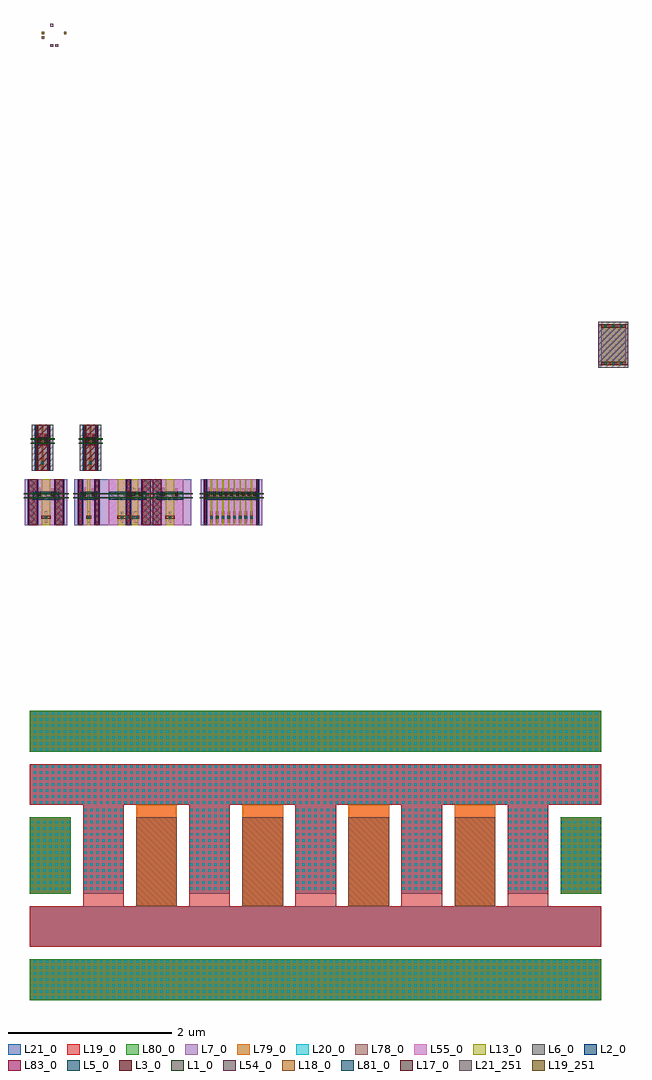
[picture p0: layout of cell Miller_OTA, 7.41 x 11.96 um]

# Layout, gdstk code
import gdstk
lib = gdstk.Library(unit=1e-6, precision=1e-09)
def R(c, l, rs):  # rectangles x0, y0, x1, y1
    for r in rs: c.add(gdstk.rectangle(r[:2], r[2:], *l))
def A(c, l, x, y, w, h, nx, ny, dx, dy):  # array of equal rectangles
    R(c, l, [(x+i*dx, y+j*dy, x+i*dx+w, y+j*dy+h) for i in range(nx) for j in range(ny)])
L1_0 = (1, 0)
L2_0 = (2, 0)
L3_0 = (3, 0)
L5_0 = (5, 0)
L6_0 = (6, 0)
L7_0 = (7, 0)
L13_0 = (13, 0)
L17_0 = (17, 0)
L18_0 = (18, 0)
L19_0 = (19, 0)
L19_251 = (19, 251)
L20_0 = (20, 0)
L21_0 = (21, 0)
L21_251 = (21, 251)
L54_0 = (54, 0)
L55_0 = (55, 0)
L78_0 = (78, 0)
L79_0 = (79, 0)
L80_0 = (80, 0)
L81_0 = (81, 0)
L83_0 = (83, 0)

contact_pcell_41be = lib.new_cell('Contact_pcell_41be')
R(contact_pcell_41be, L19_0, [(-0.014,-0.008,6.986,0.492)])
A(contact_pcell_41be, L20_0, 0.03, 0.005, 0.03, 0.03, 94, 7, 0.074, 0.074)
R(contact_pcell_41be, L21_0, [(-0.014,-0.008,6.986,0.492)])

abutcontact_pcell_8e2c = lib.new_cell('AbutContact_pcell_8e2c')
R(abutcontact_pcell_8e2c, L19_0, [(-0.008,-0.005,0.492,1.085)])
A(abutcontact_pcell_8e2c, L20_0, 0.005, 0.044, 0.03, 0.03, 7, 14, 0.074, 0.074)
R(abutcontact_pcell_8e2c, L21_0, [(-0.008,-0.005,0.492,1.085)])

contact_pcell_8956 = lib.new_cell('Contact_pcell_8956')
R(contact_pcell_8956, L19_0, [(-0.014,-0.008,6.986,0.492)])
A(contact_pcell_8956, L20_0, 0.03, 0.005, 0.03, 0.03, 94, 7, 0.074, 0.074)
R(contact_pcell_8956, L21_0, [(-0.014,-0.008,6.986,0.492)])
R(contact_pcell_8956, L80_0, [(-0.014,-0.008,6.986,0.492)])

contact_pcell_5b6d = lib.new_cell('Contact_pcell_5b6d')
R(contact_pcell_5b6d, L19_0, [(-0.008,-0.018,0.492,0.922)])
A(contact_pcell_5b6d, L20_0, 0.005, 0.03, 0.03, 0.03, 7, 12, 0.074, 0.074)
R(contact_pcell_5b6d, L21_0, [(-0.008,-0.018,0.492,0.922)])
R(contact_pcell_5b6d, L80_0, [(-0.008,-0.018,0.492,0.922)])

ccap_pcell_7730 = lib.new_cell('Ccap_pcell_7730')
A(ccap_pcell_7730, L19_0, 0.65, 0.5, 0.5, 1.24, 9, 1, 0.65, 0)
R(ccap_pcell_7730, L19_0, [(0,-0.65,7,-0.15), (0,0,7,0.5), (0,0.65,0.5,1.59), (6.5,0.65,7,1.59), (0,1.74,7,2.24), (0,1.74,7,2.24), (0,2.39,7,2.89)])
A(ccap_pcell_7730, L21_0, 1.3, 0.5, 0.5, 1.09, 4, 1, 1.3, 0)
A(ccap_pcell_7730, L21_0, 0.65, 0.65, 0.5, 1.09, 5, 1, 1.3, 0)
R(ccap_pcell_7730, L21_0, [(0,-0.65,7,-0.15), (0,0,7,0.5), (0,0,7,0.5), (0,0.65,0.5,1.59), (6.5,0.65,7,1.59), (0,1.74,7,2.24), (0,1.74,7,2.24), (0,2.39,7,2.89)])
A(ccap_pcell_7730, L78_0, 1.3, 0.5, 0.5, 1.09, 4, 1, 1.3, 0)
A(ccap_pcell_7730, L79_0, 1.3, 0.5, 0.5, 1.24, 4, 1, 1.3, 0)
ccap_pcell_7730.add(gdstk.Reference(contact_pcell_41be, (0.014,1.748)))
ccap_pcell_7730.add(gdstk.Reference(abutcontact_pcell_8e2c, (5.858,0.655)))
ccap_pcell_7730.add(gdstk.Reference(abutcontact_pcell_8e2c, (4.558,0.655)))
ccap_pcell_7730.add(gdstk.Reference(abutcontact_pcell_8e2c, (3.258,0.655)))
ccap_pcell_7730.add(gdstk.Reference(abutcontact_pcell_8e2c, (1.958,0.655)))
ccap_pcell_7730.add(gdstk.Reference(abutcontact_pcell_8e2c, (0.658,0.655)))
ccap_pcell_7730.add(gdstk.Reference(contact_pcell_8956, (0.014,-0.642)))
ccap_pcell_7730.add(gdstk.Reference(contact_pcell_8956, (0.014,2.398)))
ccap_pcell_7730.add(gdstk.Reference(contact_pcell_5b6d, (6.508,0.668)))
ccap_pcell_7730.add(gdstk.Reference(contact_pcell_5b6d, (0.008,0.668)))

nfet_pcell_736b = lib.new_cell('nfet_pcell_736b')
R(nfet_pcell_736b, L1_0, [(-0.168,0,0.21,0.014), (-0.168,0.05,0.21,0.064)])
R(nfet_pcell_736b, L2_0, [(-0.114,-0.333,-0.048,0.235), (0.09,-0.333,0.156,0.235)])
R(nfet_pcell_736b, L5_0, [(-0.081,-0.018,0,0.082), (0,-0.018,0.042,0.082), (0.042,-0.018,0.123,0.082)])
R(nfet_pcell_736b, L7_0, [(-0.154,-0.333,0.196,0.235)])
A(nfet_pcell_736b, L13_0, -0.102, -0.333, 0.042, 0.568, 3, 1, 0.102, 0)
R(nfet_pcell_736b, L13_0, [(-0.102,-0.333,-0.06,0.235), (0.102,-0.333,0.144,0.235)])
R(nfet_pcell_736b, L17_0, [(-0.045,0.025,-0.015,0.082), (0.057,0.025,0.087,0.082)])
R(nfet_pcell_736b, L18_0, [(-0.01,-0.254,0.052,-0.214)])
R(nfet_pcell_736b, L19_0, [(0.004,-0.308,0.038,-0.16), (0.004,-0.308,0.038,-0.16), (-0.047,-0.026,-0.013,0.126), (-0.047,-0.024,-0.013,0.124), (0.055,-0.024,0.089,0.124), (0.055,-0.02,0.089,0.12)])
R(nfet_pcell_736b, L55_0, [(-0.081,-0.333,0.123,0.235)])
R(nfet_pcell_736b, L81_0, [(0.006,-0.249,0.036,-0.219), (-0.045,0.035,-0.015,0.065), (0.057,0.035,0.087,0.065)])
R(nfet_pcell_736b, L83_0, [(-0.102,-0.333,-0.06,0.235), (0.102,-0.333,0.144,0.235)])

nfet_manual_l0r1_bc40 = lib.new_cell('nfet_manual_l0r1_bc40')
R(nfet_manual_l0r1_bc40, L1_0, [(-0.14,0,0.154,0.014), (-0.14,0.05,0.154,0.064)])
R(nfet_manual_l0r1_bc40, L2_0, [(-0.086,-0.333,-0.048,0.235)])
R(nfet_manual_l0r1_bc40, L5_0, [(-0.067,-0.018,0,0.082), (0,-0.018,0.014,0.082), (0.014,-0.018,0.069,0.082)])
R(nfet_manual_l0r1_bc40, L7_0, [(-0.126,-0.333,0.14,0.235)])
R(nfet_manual_l0r1_bc40, L13_0, [(-0.074,-0.333,-0.06,0.235), (-0.074,-0.333,-0.06,0.235), (0,-0.333,0.014,0.235)])
R(nfet_manual_l0r1_bc40, L17_0, [(-0.045,0.025,-0.015,0.082), (0.029,0.025,0.059,0.082)])
R(nfet_manual_l0r1_bc40, L18_0, [(-0.01,-0.254,0.024,-0.214)])
R(nfet_manual_l0r1_bc40, L19_0, [(-0.01,-0.308,0.024,-0.16), (-0.01,-0.308,0.024,-0.16), (-0.047,-0.026,-0.013,0.126), (-0.047,-0.024,-0.013,0.124), (0.027,-0.024,0.061,0.124), (0.027,-0.02,0.061,0.12)])
R(nfet_manual_l0r1_bc40, L55_0, [(-0.067,-0.333,0.081,0.235)])
R(nfet_manual_l0r1_bc40, L81_0, [(-0.008,-0.249,0.022,-0.219), (-0.045,0.035,-0.015,0.065), (0.029,0.035,0.059,0.065)])
R(nfet_manual_l0r1_bc40, L83_0, [(-0.074,-0.333,-0.06,0.235)])

nfet_manual_l1r1_feba = lib.new_cell('nfet_manual_l1r1_feba')
R(nfet_manual_l1r1_feba, L1_0, [(-0.14,0,0.154,0.014), (-0.14,0.05,0.154,0.064)])
R(nfet_manual_l1r1_feba, L5_0, [(-0.005,-0.018,0,0.082), (0,-0.018,0.014,0.082), (0.014,-0.018,0.069,0.082)])
R(nfet_manual_l1r1_feba, L7_0, [(-0.126,-0.333,0.14,0.235)])
R(nfet_manual_l1r1_feba, L13_0, [(0,-0.333,0.014,0.235)])
R(nfet_manual_l1r1_feba, L17_0, [(0.029,0.025,0.059,0.082)])
R(nfet_manual_l1r1_feba, L18_0, [(-0.01,-0.254,0.024,-0.214)])
R(nfet_manual_l1r1_feba, L19_0, [(-0.01,-0.308,0.024,-0.16), (-0.01,-0.308,0.024,-0.16), (0.027,-0.024,0.061,0.124), (0.027,-0.02,0.061,0.12)])
R(nfet_manual_l1r1_feba, L55_0, [(-0.067,-0.333,0.081,0.235)])
R(nfet_manual_l1r1_feba, L81_0, [(-0.008,-0.249,0.022,-0.219), (0.029,0.035,0.059,0.065)])

nfet_manual_l1r0_cf4b = lib.new_cell('nfet_manual_l1r0_cf4b')
R(nfet_manual_l1r0_cf4b, L1_0, [(-0.14,0,0.154,0.014), (-0.14,0.05,0.154,0.064)])
R(nfet_manual_l1r0_cf4b, L2_0, [(0.062,-0.333,0.1,0.235)])
R(nfet_manual_l1r0_cf4b, L5_0, [(-0.005,-0.018,0,0.082), (0,-0.018,0.014,0.082), (0.014,-0.018,0.081,0.082)])
R(nfet_manual_l1r0_cf4b, L7_0, [(-0.126,-0.333,0.14,0.235)])
R(nfet_manual_l1r0_cf4b, L13_0, [(0,-0.333,0.014,0.235), (0.074,-0.333,0.088,0.235), (0.074,-0.333,0.088,0.235)])
R(nfet_manual_l1r0_cf4b, L17_0, [(0.029,0.025,0.059,0.082)])
R(nfet_manual_l1r0_cf4b, L18_0, [(-0.01,-0.254,0.024,-0.214)])
R(nfet_manual_l1r0_cf4b, L19_0, [(-0.01,-0.308,0.024,-0.16), (-0.01,-0.308,0.024,-0.16), (0.027,-0.024,0.061,0.124), (0.027,-0.02,0.061,0.12)])
R(nfet_manual_l1r0_cf4b, L55_0, [(-0.067,-0.333,0.081,0.235)])
R(nfet_manual_l1r0_cf4b, L81_0, [(-0.008,-0.249,0.022,-0.219), (0.029,0.035,0.059,0.065)])
R(nfet_manual_l1r0_cf4b, L83_0, [(0.074,-0.333,0.088,0.235)])

nfet_manual_l0r1_b120 = lib.new_cell('nfet_manual_l0r1_b120')
R(nfet_manual_l0r1_b120, L1_0, [(-0.226,0,0.326,0.014), (-0.226,0.05,0.326,0.064)])
R(nfet_manual_l0r1_b120, L2_0, [(-0.172,-0.333,-0.048,0.235)])
R(nfet_manual_l0r1_b120, L5_0, [(-0.11,-0.018,0,0.082), (0,-0.018,0.1,0.082), (0.1,-0.018,0.21,0.082)])
R(nfet_manual_l0r1_b120, L7_0, [(-0.212,-0.333,0.312,0.235)])
R(nfet_manual_l0r1_b120, L13_0, [(-0.16,-0.333,-0.06,0.235), (-0.16,-0.333,-0.06,0.235), (0,-0.333,0.1,0.235)])
R(nfet_manual_l0r1_b120, L17_0, [(-0.045,0.025,-0.015,0.082), (0.115,0.025,0.145,0.082)])
R(nfet_manual_l0r1_b120, L18_0, [(-0.01,-0.254,0.11,-0.214)])
R(nfet_manual_l0r1_b120, L19_0, [(0.033,-0.308,0.067,-0.16), (0.033,-0.308,0.067,-0.16), (-0.047,-0.026,-0.013,0.126), (-0.047,-0.024,-0.013,0.124), (0.113,-0.024,0.147,0.124), (0.113,-0.02,0.147,0.12)])
R(nfet_manual_l0r1_b120, L55_0, [(-0.11,-0.333,0.21,0.235)])
R(nfet_manual_l0r1_b120, L81_0, [(0.035,-0.249,0.065,-0.219), (-0.045,0.035,-0.015,0.065), (0.115,0.035,0.145,0.065)])
R(nfet_manual_l0r1_b120, L83_0, [(-0.16,-0.333,-0.06,0.235)])

nfet_manual_l1r1_b120 = lib.new_cell('nfet_manual_l1r1_b120')
R(nfet_manual_l1r1_b120, L1_0, [(-0.226,0,0.326,0.014), (-0.226,0.05,0.326,0.064)])
R(nfet_manual_l1r1_b120, L5_0, [(-0.11,-0.018,0,0.082), (0,-0.018,0.1,0.082), (0.1,-0.018,0.21,0.082)])
R(nfet_manual_l1r1_b120, L7_0, [(-0.212,-0.333,0.312,0.235)])
R(nfet_manual_l1r1_b120, L13_0, [(0,-0.333,0.1,0.235)])
R(nfet_manual_l1r1_b120, L17_0, [(0.115,0.025,0.145,0.082)])
R(nfet_manual_l1r1_b120, L18_0, [(-0.01,-0.254,0.11,-0.214)])
R(nfet_manual_l1r1_b120, L19_0, [(0.033,-0.308,0.067,-0.16), (0.033,-0.308,0.067,-0.16), (0.113,-0.024,0.147,0.124), (0.113,-0.02,0.147,0.12)])
R(nfet_manual_l1r1_b120, L55_0, [(-0.11,-0.333,0.21,0.235)])
R(nfet_manual_l1r1_b120, L81_0, [(0.035,-0.249,0.065,-0.219), (0.115,0.035,0.145,0.065)])

nfet_manual_l1r0_b120 = lib.new_cell('nfet_manual_l1r0_b120')
R(nfet_manual_l1r0_b120, L1_0, [(-0.226,0,0.326,0.014), (-0.226,0.05,0.326,0.064)])
R(nfet_manual_l1r0_b120, L2_0, [(0.148,-0.333,0.272,0.235)])
R(nfet_manual_l1r0_b120, L5_0, [(-0.11,-0.018,0,0.082), (0,-0.018,0.1,0.082), (0.1,-0.018,0.21,0.082)])
R(nfet_manual_l1r0_b120, L7_0, [(-0.212,-0.333,0.312,0.235)])
R(nfet_manual_l1r0_b120, L13_0, [(0,-0.333,0.1,0.235), (0.16,-0.333,0.26,0.235), (0.16,-0.333,0.26,0.235)])
R(nfet_manual_l1r0_b120, L17_0, [(0.115,0.025,0.145,0.082)])
R(nfet_manual_l1r0_b120, L18_0, [(-0.01,-0.254,0.11,-0.214)])
R(nfet_manual_l1r0_b120, L19_0, [(0.033,-0.308,0.067,-0.16), (0.033,-0.308,0.067,-0.16), (0.113,-0.024,0.147,0.124), (0.113,-0.02,0.147,0.12)])
R(nfet_manual_l1r0_b120, L55_0, [(-0.11,-0.333,0.21,0.235)])
R(nfet_manual_l1r0_b120, L81_0, [(0.035,-0.249,0.065,-0.219), (0.115,0.035,0.145,0.065)])
R(nfet_manual_l1r0_b120, L83_0, [(0.16,-0.333,0.26,0.235)])

nfet_pcell_b120 = lib.new_cell('nfet_pcell_b120')
R(nfet_pcell_b120, L1_0, [(-0.226,0,0.326,0.014), (-0.226,0.05,0.326,0.064)])
R(nfet_pcell_b120, L2_0, [(-0.172,-0.333,-0.048,0.235), (0.148,-0.333,0.272,0.235)])
R(nfet_pcell_b120, L5_0, [(-0.11,-0.018,0,0.082), (0,-0.018,0.1,0.082), (0.1,-0.018,0.21,0.082)])
R(nfet_pcell_b120, L7_0, [(-0.212,-0.333,0.312,0.235)])
A(nfet_pcell_b120, L13_0, -0.16, -0.333, 0.1, 0.568, 3, 1, 0.16, 0)
R(nfet_pcell_b120, L13_0, [(-0.16,-0.333,-0.06,0.235), (0.16,-0.333,0.26,0.235)])
R(nfet_pcell_b120, L17_0, [(-0.045,0.025,-0.015,0.082), (0.115,0.025,0.145,0.082)])
R(nfet_pcell_b120, L18_0, [(-0.01,-0.254,0.11,-0.214)])
R(nfet_pcell_b120, L19_0, [(0.033,-0.308,0.067,-0.16), (0.033,-0.308,0.067,-0.16), (-0.047,-0.026,-0.013,0.126), (-0.047,-0.024,-0.013,0.124), (0.113,-0.024,0.147,0.124), (0.113,-0.02,0.147,0.12)])
R(nfet_pcell_b120, L55_0, [(-0.11,-0.333,0.21,0.235)])
R(nfet_pcell_b120, L81_0, [(0.035,-0.249,0.065,-0.219), (-0.045,0.035,-0.015,0.065), (0.115,0.035,0.145,0.065)])
R(nfet_pcell_b120, L83_0, [(-0.16,-0.333,-0.06,0.235), (0.16,-0.333,0.26,0.235)])

pfet_pcell_bdec = lib.new_cell('pfet_pcell_bdec')
R(pfet_pcell_bdec, L1_0, [(-0.14,0,0.154,0.014), (-0.14,0.05,0.154,0.064)])
R(pfet_pcell_bdec, L2_0, [(-0.086,-0.333,-0.048,0.235), (0.062,-0.333,0.1,0.235)])
R(pfet_pcell_bdec, L3_0, [(-0.067,-0.333,0.081,0.235)])
R(pfet_pcell_bdec, L5_0, [(-0.067,-0.018,0,0.082), (0,-0.018,0.014,0.082), (0.014,-0.018,0.081,0.082)])
R(pfet_pcell_bdec, L6_0, [(-0.126,-0.333,0.14,0.235)])
A(pfet_pcell_bdec, L13_0, -0.074, -0.333, 0.014, 0.568, 3, 1, 0.074, 0)
R(pfet_pcell_bdec, L13_0, [(-0.074,-0.333,-0.06,0.235), (0.074,-0.333,0.088,0.235)])
R(pfet_pcell_bdec, L17_0, [(-0.045,0.025,-0.015,0.082), (0.029,0.025,0.059,0.082)])
R(pfet_pcell_bdec, L18_0, [(0,-0.254,0.014,-0.214)])
R(pfet_pcell_bdec, L19_0, [(-0.01,-0.308,0.024,-0.16), (-0.01,-0.308,0.024,-0.16), (-0.047,-0.026,-0.013,0.126), (-0.047,-0.024,-0.013,0.124), (0.027,-0.024,0.061,0.124), (0.027,-0.02,0.061,0.12)])
R(pfet_pcell_bdec, L55_0, [(-0.067,-0.333,0.081,0.235)])
R(pfet_pcell_bdec, L81_0, [(-0.008,-0.249,0.022,-0.219), (-0.045,0.035,-0.015,0.065), (0.029,0.035,0.059,0.065)])
R(pfet_pcell_bdec, L83_0, [(-0.074,-0.333,-0.06,0.235), (0.074,-0.333,0.088,0.235)])

rppoly_pcell_d50b = lib.new_cell('rppoly_pcell_d50b')
R(rppoly_pcell_d50b, L6_0, [(-0.184,-0.034,0.184,0.534)])
R(rppoly_pcell_d50b, L13_0, [(-0.15,0,0.15,0.5)])
R(rppoly_pcell_d50b, L18_0, [(-0.15,0,0.15,0.04), (-0.15,0.46,0.15,0.5)])
R(rppoly_pcell_d50b, L19_0, [(-0.15,0,0.15,0.04), (-0.15,0,0.15,0.04), (-0.15,0.46,0.15,0.5), (-0.15,0.46,0.15,0.5)])
R(rppoly_pcell_d50b, L54_0, [(-0.184,0,0.184,0.5)])
A(rppoly_pcell_d50b, L81_0, -0.11, 0.003, 0.03, 0.03, 3, 2, 0.095, 0.464)

miller_ota = lib.new_cell('Miller_OTA')
R(miller_ota, L19_251, [(0,0.097,0.03,0.127), (0,0.153,0.03,0.183), (0.27,0.153,0.3,0.183)])
R(miller_ota, L21_251, [(0.103,0,0.137,0.034), (0.163,0,0.197,0.034), (0.103,0.246,0.137,0.28)])
miller_ota.add(gdstk.Reference(ccap_pcell_7730, (-0.147,-11.025)))
miller_ota.add(gdstk.Reference(nfet_pcell_736b, (1.14,-5.529)))
miller_ota.add(gdstk.Reference(nfet_pcell_736b, (0.552,-5.529)))
miller_ota.add(gdstk.Reference(nfet_manual_l0r1_bc40, (2.07,-5.529)))
miller_ota.add(gdstk.Reference(nfet_manual_l1r1_feba, (2.49,-5.529)))
miller_ota.add(gdstk.Reference(nfet_manual_l1r1_feba, (2.42,-5.529)))
miller_ota.add(gdstk.Reference(nfet_manual_l1r1_feba, (2.35,-5.529)))
miller_ota.add(gdstk.Reference(nfet_manual_l1r1_feba, (2.28,-5.529)))
miller_ota.add(gdstk.Reference(nfet_manual_l1r1_feba, (2.21,-5.529)))
miller_ota.add(gdstk.Reference(nfet_manual_l1r1_feba, (2.14,-5.529)))
miller_ota.add(gdstk.Reference(nfet_manual_l1r0_cf4b, (2.56,-5.529)))
miller_ota.add(gdstk.Reference(nfet_manual_l0r1_b120, (1.518,-5.529)))
miller_ota.add(gdstk.Reference(nfet_manual_l1r1_b120, (1,-5.529)))
miller_ota.add(gdstk.Reference(nfet_manual_l1r1_b120, (0.93,-5.529)))
miller_ota.add(gdstk.Reference(nfet_manual_l1r0_b120, (1.07,-5.529)))
miller_ota.add(gdstk.Reference(nfet_pcell_b120, (0,-5.529)))
miller_ota.add(gdstk.Reference(pfet_pcell_bdec, (0,-4.861)))
miller_ota.add(gdstk.Reference(pfet_pcell_bdec, (0.588,-4.861)))
miller_ota.add(gdstk.Reference(pfet_pcell_bdec, (0,-4.861)))
miller_ota.add(gdstk.Reference(rppoly_pcell_d50b, (7,-3.899)))

lib.write_gds('Miller_OTA.gds')
